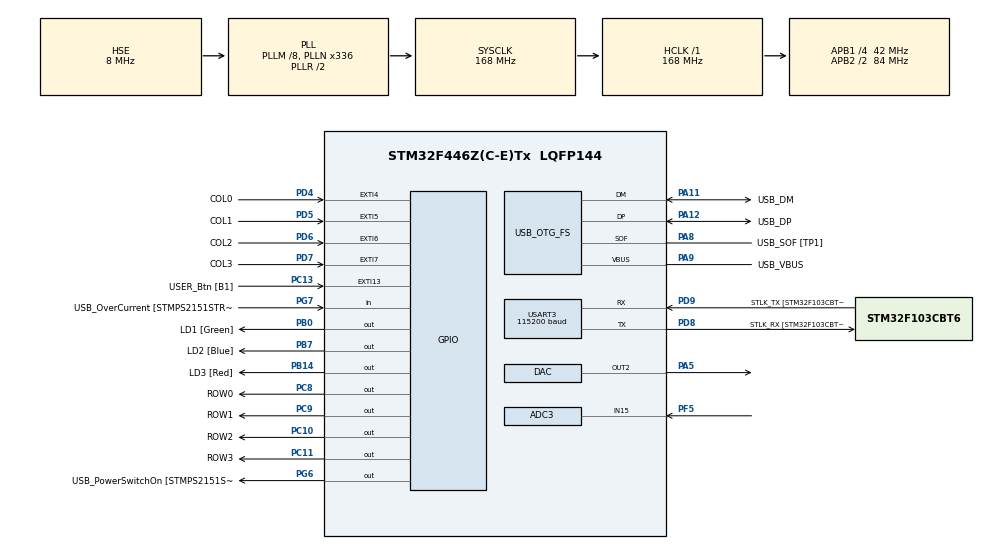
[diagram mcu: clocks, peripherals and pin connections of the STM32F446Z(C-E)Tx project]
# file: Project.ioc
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ADC3.Channel-0\#ChannelRegularConversion=ADC_CHANNEL_15
ADC3.NbrOfConversionFlag=1
ADC3.Rank-0\#ChannelRegularConversion=1
ADC3.SamplingTime-0\#ChannelRegularConversion=ADC_SAMPLETIME_3CYCLES
DAC.DAC_Trigger2=DAC_TRIGGER_T5_TRGO
Dma.ADC3.0.Direction=DMA_PERIPH_TO_MEMORY
Dma.ADC3.0.FIFOMode=DMA_FIFOMODE_DISABLE
Dma.ADC3.0.Instance=DMA2_Stream0
Dma.ADC3.0.MemDataAlignment=DMA_MDATAALIGN_HALFWORD
Dma.ADC3.0.MemInc=DMA_MINC_ENABLE
Dma.ADC3.0.Mode=DMA_NORMAL
Dma.ADC3.0.PeriphDataAlignment=DMA_PDATAALIGN_HALFWORD
Dma.ADC3.0.PeriphInc=DMA_PINC_DISABLE
Dma.ADC3.0.Priority=DMA_PRIORITY_LOW
Dma.Request0=ADC3
Mcu.Family=STM32F4
Mcu.Name=STM32F446Z(C-E)Tx
Mcu.Package=LQFP144
NVIC.DMA2_Stream0_IRQn=true\:0\:0\:false\:false\:true\:false\:true\:true
NVIC.EXTI15_10_IRQn=true\:0\:0\:false\:false\:true\:true\:true\:true
NVIC.EXTI4_IRQn=true\:0\:0\:false\:false\:true\:true\:true\:true
NVIC.EXTI9_5_IRQn=true\:0\:0\:false\:false\:true\:true\:true\:true
NVIC.PriorityGroup=NVIC_PRIORITYGROUP_4
NVIC.TIM6_DAC_IRQn=true\:0\:0\:false\:false\:true\:true\:true\:true
NVIC.TIM7_IRQn=true\:0\:0\:false\:false\:true\:true\:true\:true
PA10.GPIO_Label=USB_ID
PA10.Signal=USB_OTG_FS_ID
PA11.GPIO_Label=USB_DM
PA11.Mode=Device_Only
PA11.Signal=USB_OTG_FS_DM
PA12.GPIO_Label=USB_DP
PA12.Mode=Device_Only
PA12.Signal=USB_OTG_FS_DP
PA13.GPIO_Label=TMS
PA13.Mode=Serial_Wire
PA13.Signal=SYS_JTMS-SWDIO
PA14.GPIO_Label=TCK
PA14.Mode=Serial_Wire
PA14.Signal=SYS_JTCK-SWCLK
PA5.Signal=COMP_DAC2_group
PA8.GPIO_Label=USB_SOF [TP1]
PA8.Mode=Activate_SOF_FS
PA8.Signal=USB_OTG_FS_SOF
PA9.GPIO_Label=USB_VBUS
PA9.Mode=Activate_VBUS
PA9.Signal=USB_OTG_FS_VBUS
PB0.GPIO_Label=LD1 [Green]
PB0.Signal=GPIO_Output
PB14.GPIO_Label=LD3 [Red]
PB14.Signal=GPIO_Output
PB7.GPIO_Label=LD2 [Blue]
PB7.Signal=GPIO_Output
PC10.GPIO_Label=ROW2
PC10.Signal=GPIO_Output
PC11.GPIO_Label=ROW3
PC11.Signal=GPIO_Output
PC13.GPIO_Label=USER_Btn [B1]
PC13.GPIO_ModeDefaultEXTI=GPIO_MODE_IT_RISING
PC13.Signal=GPXTI13
PC14-OSC32_IN.Mode=LSE-External-Oscillator
PC14-OSC32_IN.Signal=RCC_OSC32_IN
PC15-OSC32_OUT.Mode=LSE-External-Oscillator
PC15-OSC32_OUT.Signal=RCC_OSC32_OUT
PC8.GPIO_Label=ROW0
PC8.Signal=GPIO_Output
PC9.GPIO_Label=ROW1
PC9.Signal=GPIO_Output
PD4.GPIO_Label=COL0
PD4.GPIO_PuPd=GPIO_PULLDOWN
PD4.Signal=GPXTI4
PD5.GPIO_Label=COL1
PD5.GPIO_PuPd=GPIO_PULLDOWN
PD5.Signal=GPXTI5
PD6.GPIO_Label=COL2
PD6.GPIO_PuPd=GPIO_PULLDOWN
PD6.Signal=GPXTI6
PD7.GPIO_Label=COL3
PD7.GPIO_PuPd=GPIO_PULLDOWN
PD7.Signal=GPXTI7
PD8.GPIO_Label=STLK_RX [STM32F103CBT6_PA3]
PD8.Mode=Asynchronous
PD8.Signal=USART3_TX
PD9.GPIO_Label=STLK_TX [STM32F103CBT6_PA2]
PD9.Mode=Asynchronous
PD9.Signal=USART3_RX
PF5.Mode=IN15
PF5.Signal=ADC3_IN15
PG6.GPIO_Label=USB_PowerSwitchOn [STMPS2151STR_EN]
PG6.Signal=GPIO_Output
PG7.GPIO_Label=USB_OverCurrent [STMPS2151STR_FAULT]
PG7.Signal=GPIO_Input
PH0-OSC_IN.GPIO_Label=MCO [STM32F103CBT6_PA8]
PH0-OSC_IN.Mode=HSE-External-Clock-Source
PH0-OSC_IN.Signal=RCC_OSC_IN
PH1-OSC_OUT.Mode=HSE-External-Clock-Source
PH1-OSC_OUT.Signal=RCC_OSC_OUT
ProjectManager.HeapSize=0x200
ProjectManager.StackSize=0x400
ProjectManager.TargetToolchain=STM32CubeIDE
RCC.48MHZClocksFreq_Value=24000000
RCC.AHBFreq_Value=168000000
RCC.APB1CLKDivider=RCC_HCLK_DIV4
RCC.APB1Freq_Value=42000000
RCC.APB1TimFreq_Value=84000000
RCC.APB2CLKDivider=RCC_HCLK_DIV2
RCC.APB2Freq_Value=84000000
RCC.APB2TimFreq_Value=168000000
RCC.CortexFreq_Value=168000000
RCC.HCLKFreq_Value=168000000
RCC.HSE_VALUE=8000000
RCC.HSI_VALUE=16000000
RCC.PLLM=8
RCC.PLLMUL=RCC_PLL_MUL9
RCC.PLLN=336
RCC.PLLQ=7
RCC.PRESCALERUSB=RCC_USBCLKSOURCE_PLL_DIV1_5
RCC.SYSCLKFreq_VALUE=168000000
RCC.SYSCLKSource=RCC_SYSCLKSOURCE_PLLRCLK
RCC.SYSCLKSourceVirtual=RCC_SYSCLKSOURCE_PLLCLK
RCC.USBFreq_Value=48000000
RCC.VCOOutputFreq_Value=336000000
SH.COMP_DAC2_group.0=DAC_OUT2,DAC_OUT2
STMicroelectronics.X-CUBE-ALGOBUILD.1.3.0.LibraryCcDSPOoLibraryJjDSPOoLibrary=true
TIM5.AutoReloadPreload=TIM_AUTORELOAD_PRELOAD_ENABLE
TIM5.Period=7000-1
TIM5.TIM_MasterOutputTrigger=TIM_TRGO_UPDATE
TIM6.AutoReloadPreload=TIM_AUTORELOAD_PRELOAD_ENABLE
TIM6.Period=1000 - 1
TIM6.Prescaler=8400 - 1
TIM6.TIM_MasterOutputTrigger=TIM_TRGO_RESET
TIM7.AutoReloadPreload=TIM_AUTORELOAD_PRELOAD_ENABLE
TIM7.Period=1750-1
TIM7.TIM_MasterOutputTrigger=TIM_TRGO_RESET
USART3.BaudRate=115200
USART3.VirtualMode=VM_ASYNC
USB_OTG_FS.VirtualMode=Device_Only
VP_STMicroelectronics.X-CUBE-ALGOBUILD_VS_DSPOoLibraryJjLibrary_1.3.0_1.3.0.Mode=DSPOoLibraryJjLibrary
VP_TIM5_VS_ClockSourceINT.Mode=Internal
VP_TIM6_VS_ClockSourceINT.Mode=Enable_Timer
VP_TIM7_VS_ClockSourceINT.Mode=Enable_Timer
board=NUCLEO-F446ZE

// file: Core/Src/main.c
/* USER CODE BEGIN Header */
/**
  ******************************************************************************
  * @file           : main.c
  * @brief          : Main program body
  ******************************************************************************
  * @attention
  *
  * Copyright (c) 2024 STMicroelectronics.
  * All rights reserved.
  *
  * This software is licensed under terms that can be found in the LICENSE file
  * in the root directory of this software component.
  * If no LICENSE file comes with this software, it is provided AS-IS.
  *
  ******************************************************************************
  */
/* USER CODE END Header */
#include "main.h"

/* USER CODE BEGIN Includes */
#include "arm_math.h"
//#include "math_helper.h"
#include <stdio.h>
#include <math.h>
/* USER CODE END Includes */

ADC_HandleTypeDef hadc3;
DMA_HandleTypeDef hdma_adc3;

DAC_HandleTypeDef hdac;

TIM_HandleTypeDef htim5;
TIM_HandleTypeDef htim6;
TIM_HandleTypeDef htim7;

UART_HandleTypeDef huart3;

PCD_HandleTypeDef hpcd_USB_OTG_FS;

void SystemClock_Config(void);
static void MX_GPIO_Init(void);
static void MX_DMA_Init(void);
static void MX_USART3_UART_Init(void);
static void MX_USB_OTG_FS_PCD_Init(void);
static void MX_DAC_Init(void);
static void MX_TIM7_Init(void);
static void MX_TIM6_Init(void);
static void MX_TIM5_Init(void);
static void MX_ADC3_Init(void);
/* USER CODE BEGIN PFP */
uint8_t volume_level = 5; // Default volume level
uint8_t trig_vol = 5; // Default volume level

uint16_t trig_freq = 100;

int8_t current_row = -1, current_col = -1;
uint8_t key_pressed = 0;
uint8_t key_detected = 0;
char key;
uint8_t push_button_en = 0;
uint8_t new_sample = 0;

uint8_t echo_en = 0;

char keys[4][4] = {{'3', '2', '1', '0'},
                    {'7', '6', '5', '4'},
                    {'B', 'A', '9', '8'},
                    {'F', 'E', 'D', 'C'}};

const float32_t sine[SAMPLES] = {
		0,	0.130526192220052,	0.258819045102521,	0.382683432365090,	0.500000000000000,	0.608761429008721,	0.707106781186548,
		0.793353340291235,	0.866025403784439,	0.923879532511287,	0.965925826289068,	0.991444861373810,	1,	0.991444861373811,
		0.965925826289068,	0.923879532511287,	0.866025403784439,	0.793353340291235,	0.707106781186548,	0.608761429008721,
		0.500000000000000,	0.382683432365090,	0.258819045102521,	0.130526192220052,	0,	-0.130526192220051,	-0.258819045102520,
		-0.382683432365089,	-0.499999999999999,	-0.608761429008721,	-0.707106781186548,	-0.793353340291235,	-0.866025403784439,
		-0.923879532511287,	-0.965925826289068,	-0.991444861373810,	-1,	-0.991444861373811,	-0.965925826289068,	-0.923879532511287,
		-0.866025403784439,	-0.793353340291236,	-0.707106781186548,	-0.608761429008721,	-0.500000000000000,	-0.382683432365090,
		-0.258819045102522,	-0.130526192220053
};

float32_t square[SAMPLES];

const float32_t logarithmic_chirp[320] = {
		0.000000000000000061,	0.002622410992047861,	0.005253663973466970,	0.007893770384930297,	0.010542741395035495,	0.013200587895525877,	0.015867320496454066,	0.018542949521290073,
		0.021227485001971542,	0.023920936673895138,	0.026623313970853074,	0.029334626019908643,	0.032054881636210709,	0.034784089317753723,	0.037522257240071598,	0.040269393250875855,
		0.043025504864628375,	0.045790599257054837,	0.048564683259595690,	0.051347763353792118,	0.054139845665610427,	0.056940935959702531,	0.059751039633601337,	0.062570161711849828,
		0.065398306840066575,	0.068235479278943648,	0.071081682898178900,	0.073936921170339814,	0.076801197164660218,	0.079674513540768196,	0.082556872542344922,	0.085448275990715375,
		0.088348725278367082,	0.091258221362398390,	0.094176764757897533,	0.097104355531246703,	0.100040993293358240,	0.102986677192832010,	0.105941405909045980,	0.108905177645166230,
		0.111877990121087980,	0.114859840566297130,	0.117850725712659680,	0.120850641787131110,	0.123859584504392860,	0.126877549059407400,	0.129904530119898690,	0.132940521818751430,
		0.135985517746334080,	0.139039510942737950,	0.142102493889940090,	0.145174458503884160,	0.148255396126476810,	0.151345297517508140,	0.154444152846483080,	0.157551951684374300,
		0.160668682995289720,	0.163794335128054890,	0.166928895807713030,	0.170072352126936720,	0.173224690537355760,	0.176385896840798810,	0.179555956180445340,	0.182734853031894270,
		0.185922571194139130,	0.189119093780459800,	0.192324403209221870,	0.195538481194587030,	0.198761308737133020,	0.201992866114384050,	0.205233132871247170,	0.208482087810360570,
		0.211739708982344370,	0.215005973675965020,	0.218280858408200220,	0.221564338914212730,	0.224856390137231970,	0.228156986218334190,	0.231466100486134670,	0.234783705446379690,
		0.238109772771442410,	0.241444273289723230,	0.244787176974952890,	0.248138452935395580,	0.251498069402956710,	0.254865993722190930,	0.258242192339209860,	0.261626630790492030,
		0.265019273691591620,	0.268420084725748410,	0.271829026632395280,	0.275246061195565440,	0.278671149232197430,	0.282104250580339830,	0.285545324087251580,	0.288994327597401960,
		0.292451217940364990,	0.295915950918612280,	0.299388481295203350,	0.302868762781368150,	0.306356748023990040,	0.309852388592980640,	0.313355634968552230,	0.316866436528383590,
		0.320384741534681720,	0.323910497121136620,	0.327443649279772870,	0.330984142847692230,	0.334531921493712690,	0.338086927704900790,	0.341649102772995210,	0.345218386780727190,
		0.348794718588032520,	0.352378035818156910,	0.355968274843654950,	0.359565370772282730,	0.363169257432780890,	0.366779867360555120,	0.370397131783246010,	0.374020980606193880,
		0.377651342397795690,	0.381288144374756830,	0.384931312387234990,	0.388580770903877330,	0.392236442996751310,	0.395898250326170650,	0.399566113125414350,	0.403239950185338420,
		0.406919678838884410,	0.410605214945482130,	0.414296472875345100,	0.417993365493664670,	0.421695804144698540,	0.425403698635752780,	0.429116957221065130,	0.432835486585582130,
		0.436559191828633180,	0.440287976447505720,	0.444021742320914510,	0.447760389692375140,	0.451503817153472210,	0.455251921627031540,	0.459004598350192470,	0.462761740857380200,
		0.466523240963184150,	0.470288988745136360,	0.474058872526396560,	0.477832778858340690,	0.481610592503056990,	0.485392196415748600,	0.489177471727042850,	0.492966297725213780,
		0.496758551838309250,	0.500554109616195060,	0.504352844712508190,	0.508154628866524960,	0.511959331884944910,	0.515766821623591440,	0.519576963969030530,	0.523389622820107150,
		0.527204660069405030,	0.531021935584629400,	0.534841307189911630,	0.538662630647041900,	0.542485759636628150,	0.546310545739186690,	0.550136838416161340,	0.553964484990880020,
		0.557793330629441700,	0.561623218321546380,	0.565453988861259300,	0.569285480827721570,	0.573117530565801950,	0.576949972166696630,	0.580782637448476910,	0.584615355936589420,
		0.588447954844309340,	0.592280259053150400,	0.596112091093235260,	0.599943271123626440,	0.603773616912622660,	0.607602943818024150,	0.611431064767369080,	0.615257790238142090,
		0.619082928237961740,	0.622906284284749700,	0.626727661386881850,	0.630546860023327600,	0.634363678123782030,	0.638177911048790960,	0.641989351569874020,	0.645797789849653410,
		0.649603013421986450,	0.653404807172108140,	0.657202953316791350,	0.660997231384523490,	0.664787418195706640,	0.668573287842887610,	0.672354611671016960,	0.676131158257749170,
		0.679902693393781730,	0.683668980063242500,	0.687429778424128110,	0.691184845788802130,	0.694933936604551380,	0.698676802434213370,	0.702413191936877570,	0.706142850848662460,
		0.709865521963579990,	0.713580945114492330,	0.717288857154159800,	0.720988991936399870,	0.724681080297347790,	0.728364850036839040,	0.732040025899910680,	0.735706329558433620,
		0.739363479592880620,	0.743011191474238440,	0.746649177546067850,	0.750277147006723990,	0.753894805891742180,	0.757501857056394940,	0.761098000158428880,	0.764682931640995540,
		0.768256344715771980,	0.771817929346292900,	0.775367372231492210,	0.778904356789468790,	0.782428563141483460,	0.785939668096195860,	0.789437345134148760,	0.792921264392515420,
		0.796391092650110770,	0.799846493312681210,	0.803287126398485760,	0.806712648524170680,	0.810122712890953390,	0.813516969271127150,	0.816895063994893090,	0.820256639937531280,
		0.823601336506926020,	0.826928789631450890,	0.830238631748229430,	0.833530491791779850,	0.836803995183058700,	0.840058763818912760,	0.843294416061954100,	0.846510566730867220,
		0.849706827091166740,	0.852882804846411770,	0.856038104129895340,	0.859172325496819990,	0.862285065916973510,	0.865375918767918860,	0.868444473828712590,	0.871490317274166260,
		0.874513031669661770,	0.877512195966544280,	0.880487385498096800,	0.883438171976119850,	0.886364123488128100,	0.889264804495180530,	0.892139775830360640,	0.894988594697921020,
		0.897810814673113080,	0.900605985702712770,	0.903373654106265470,	0.906113362578062300,	0.908824650189867690,	0.911507052394417540,	0.914160101029702910,	0.916783324324059180,
		0.919376246902079860,	0.921938389791372770,	0.924469270430179120,	0.926968402675872660,	0.929435296814361430,	0.931869459570409790,	0.934270394118903560,	0.936637600097074200,
		0.938970573617708970,	0.941268807283364040,	0.943531790201601380,	0.945759008001275100,	0.947949942849885320,	0.950104073472023970,	0.952220875168933280,	0.954299819839202090,
		0.956340376000621160,	0.958342008813221960,	0.960304180103520260,	0.962226348389994210,	0.964107968909812760,	0.965948493646846980,	0.967747371360983650,	0.969504047618768740,
		0.971217964825405680,	0.972888562258134030,	0.974515276101013520,	0.976097539481141750,	0.977634782506330400,	0.979126432304266880,	0.980571913063189360,	0.981970646074102120,
		0.983322049774557390,	0.984625539794035220,	0.985880529000944810,	0.987086427551279730,	0.988242642938953360,	0.989348580047844540,	0.990403641205582440,	0.991407226239099710,
		0.992358732531984260,	0.993257555083659870,	0.994103086570423680,	0.994894717408374870,	0.995631835818261310,	0.996313827892278070,	0.996940077662846650,	0.997509967173408010,
};

const float32_t firCoeffs32[NUM_TAPS] = {
	  -0.0018225230f, -0.0015879294f, +0.0000000000f, +0.0036977508f, +0.0080754303f, +0.0085302217f, -0.0000000000f, -0.0173976984f,
	  -0.0341458607f, -0.0333591565f, +0.0000000000f, +0.0676308395f, +0.1522061835f, +0.2229246956f, +0.2504960933f, +0.2229246956f,
	  +0.1522061835f, +0.0676308395f, +0.0000000000f, -0.0333591565f, -0.0341458607f, -0.0173976984f, -0.0000000000f, +0.0085302217f,
};

const float32_t coeffTable[950] = {
		/* Band 1, -9 dB gain */
		0.997590, -1.995180, 0.997590, 2.000000, -1.000000, 0.997590, -1.980927, 0.983438, 1.976016, -0.976300,
		/* Band 1, -8 dB gain */
		0.997862, -1.995725, 0.997862, 2.000000, -1.000000, 0.997862, -1.981052, 0.983296, 1.976696, -0.976964,
		0.998133, -1.996266, 0.998133, 2.000000, -1.000000, 0.998133, -1.981161, 0.983141, 1.977357, -0.977611,
		0.998402, -1.996805, 0.998402, 2.000000, -1.000000, 0.998402, -1.981254, 0.982972, 1.977999, -0.978239,
		0.998670, -1.997341, 0.998670, 2.000000, -1.000000, 0.998670, -1.981332, 0.982789, 1.978624, -0.978850,
		0.998937, -1.997875, 0.998937, 2.000000, -1.000000, 0.998937, -1.981394, 0.982591, 1.979230, -0.979443,
		0.999204, -1.998408, 0.999204, 2.000000, -1.000000, 0.999204, -1.981441, 0.982380, 1.979819, -0.980021,
		0.999469, -1.998939, 0.999469, 2.000000, -1.000000, 0.999469, -1.981472, 0.982154, 1.980392, -0.980582,
		0.999735, -1.999470, 0.999735, 2.000000, -1.000000, 0.999735, -1.981488, 0.981914, 1.980948, -0.981128,
		1.000000, -2.000000, 1.000000, 2.000000, -1.000000, 1.000000, -1.981488, 0.981658, 1.981488, -0.981658,
		1.000265, -2.000530, 1.000265, 2.000000, -1.000000, 1.000265, -1.981473, 0.981388, 1.982014, -0.982174,
		1.000531, -2.001062, 1.000531, 2.000000, -1.000000, 1.000531, -1.981443, 0.981103, 1.982524, -0.982675,
		1.000797, -2.001594, 1.000797, 2.000000, -1.000000, 1.000797, -1.981397, 0.980802, 1.983020, -0.983163,
		1.001064, -2.002127, 1.001064, 2.000000, -1.000000, 1.001064, -1.981335, 0.980485, 1.983501, -0.983636,
		1.001331, -2.002663, 1.001331, 2.000000, -1.000000, 1.001331, -1.981258, 0.980153, 1.983970, -0.984097,
		1.001600, -2.003200, 1.001600, 2.000000, -1.000000, 1.001600, -1.981165, 0.979804, 1.984424, -0.984545,
		1.001871, -2.003741, 1.001871, 2.000000, -1.000000, 1.001871, -1.981056, 0.979439, 1.984866, -0.984980,
		1.002142, -2.004285, 1.002142, 2.000000, -1.000000, 1.002142, -1.980931, 0.979057, 1.985296, -0.985403,
		1.002416, -2.004832, 1.002416, 2.000000, -1.000000, 1.002416, -1.980790, 0.978659, 1.985713, -0.985814,
		0.990527, -1.966018, 0.975790, 1.985977, -0.986122, 0.990527, -1.937818, 0.949629, 1.916491, -0.921315,
		0.991593, -1.968075, 0.976771, 1.985795, -0.985948, 0.991593, -1.938312, 0.949134, 1.919385, -0.923988,
		0.992655, -1.970134, 0.977760, 1.985625, -0.985785, 0.992655, -1.938731, 0.948575, 1.922192, -0.926586,
		0.993711, -1.972199, 0.978759, 1.985466, -0.985633, 0.993711, -1.939074, 0.947948, 1.924913, -0.929111,
		0.994764, -1.974270, 0.979768, 1.985320, -0.985495, 0.994764, -1.939339, 0.947255, 1.927549, -0.931563,
		0.995814, -1.976351, 0.980790, 1.985187, -0.985371, 0.995814, -1.939528, 0.946494, 1.930102, -0.933942,
		0.996862, -1.978442, 0.981825, 1.985068, -0.985260, 0.996862, -1.939639, 0.945663, 1.932572, -0.936250,
		0.997908, -1.980546, 0.982873, 1.984964, -0.985164, 0.997908, -1.939672, 0.944763, 1.934961, -0.938487,
		0.998954, -1.982665, 0.983938, 1.984874, -0.985083, 0.998954, -1.939626, 0.943793, 1.937271, -0.940654,
		1.000000, -1.984800, 0.985018, 1.984800, -0.985018, 1.000000, -1.939502, 0.942752, 1.939502, -0.942752,
		1.001047, -1.986953, 0.986115, 1.984741, -0.984968, 1.001047, -1.939299, 0.941639, 1.941658, -0.944781,
		1.002096, -1.989125, 0.987229, 1.984698, -0.984934, 1.002096, -1.939017, 0.940454, 1.943738, -0.946744,
		1.003148, -1.991318, 0.988362, 1.984670, -0.984915, 1.003148, -1.938656, 0.939197, 1.945745, -0.948640,
		1.004204, -1.993532, 0.989513, 1.984658, -0.984913, 1.004204, -1.938215, 0.937868, 1.947681, -0.950472,
		1.005263, -1.995770, 0.990682, 1.984662, -0.984925, 1.005263, -1.937695, 0.936466, 1.949547, -0.952241,
		1.006329, -1.998031, 0.991871, 1.984680, -0.984953, 1.006329, -1.937095, 0.934991, 1.951345, -0.953948,
		1.007400, -2.000318, 0.993079, 1.984713, -0.984996, 1.007400, -1.936416, 0.933443, 1.953077, -0.955594,
		1.008478, -2.002631, 0.994306, 1.984760, -0.985052, 1.008478, -1.935658, 0.931821, 1.954745, -0.957181,
		1.009564, -2.004971, 0.995553, 1.984820, -0.985123, 1.009564, -1.934820, 0.930127, 1.956351, -0.958711,
		0.966534, -1.866346, 0.906596, 1.932002, -0.935733, 0.966534, -1.761754, 0.831431, 1.680788, -0.746363,
		0.970252, -1.873134, 0.909509, 1.931427, -0.935322, 0.970252, -1.762977, 0.829961, 1.691136, -0.754252,
		0.973965, -1.879949, 0.912454, 1.930912, -0.934976, 0.973965, -1.763937, 0.828291, 1.701165, -0.761962,
		0.977674, -1.886800, 0.915435, 1.930459, -0.934695, 0.977674, -1.764629, 0.826418, 1.710879, -0.769489,
		0.981383, -1.893695, 0.918458, 1.930071, -0.934481, 0.981383, -1.765047, 0.824337, 1.720282, -0.776831,
		0.985093, -1.900640, 0.921530, 1.929746, -0.934334, 0.985093, -1.765186, 0.822047, 1.729380, -0.783986,
		0.988808, -1.907645, 0.924655, 1.929485, -0.934253, 0.988808, -1.765040, 0.819543, 1.738177, -0.790953,
		0.992529, -1.914715, 0.927839, 1.929289, -0.934239, 0.992529, -1.764602, 0.816823, 1.746681, -0.797732,
		0.996259, -1.921860, 0.931088, 1.929156, -0.934291, 0.996259, -1.763869, 0.813885, 1.754898, -0.804323,
		1.000000, -1.929086, 0.934406, 1.929086, -0.934406, 1.000000, -1.762833, 0.810725, 1.762833, -0.810725,
		1.003755, -1.936401, 0.937799, 1.929078, -0.934585, 1.003755, -1.761488, 0.807343, 1.770493, -0.816941,
		1.007528, -1.943812, 0.941272, 1.929129, -0.934824, 1.007528, -1.759830, 0.803737, 1.777886, -0.822972,
		1.011319, -1.951325, 0.944828, 1.929237, -0.935121, 1.011319, -1.757852, 0.799906, 1.785018, -0.828819,
		1.015132, -1.958947, 0.948472, 1.929401, -0.935475, 1.015132, -1.755549, 0.795850, 1.791897, -0.834486,
		1.018970, -1.966685, 0.952209, 1.929619, -0.935882, 1.018970, -1.752916, 0.791568, 1.798530, -0.839975,
		1.022836, -1.974543, 0.956040, 1.929887, -0.936339, 1.022836, -1.749948, 0.787061, 1.804925, -0.845289,
		1.026731, -1.982528, 0.959969, 1.930203, -0.936845, 1.026731, -1.746640, 0.782330, 1.811089, -0.850432,
		1.030660, -1.990645, 0.963999, 1.930564, -0.937395, 1.030660, -1.742987, 0.777378, 1.817030, -0.855408,
		1.034625, -1.998898, 0.968132, 1.930968, -0.937987, 1.034625, -1.738985, 0.772206, 1.822755, -0.860219,
		0.920303, -1.585898, 0.752613, 1.732542, -0.789053, 0.920303, -1.254890, 0.632373, 1.046514, -0.495094,
		0.928926, -1.600342, 0.757327, 1.730792, -0.789364, 0.928926, -1.254072, 0.629919, 1.068635, -0.507055,
		0.937598, -1.614936, 0.762098, 1.729211, -0.789864, 0.937598, -1.252690, 0.627141, 1.090188, -0.518931,
		0.946322, -1.629695, 0.766937, 1.727798, -0.790548, 0.946322, -1.250726, 0.624036, 1.111176, -0.530705,
		0.955102, -1.644633, 0.771858, 1.726549, -0.791410, 0.955102, -1.248160, 0.620600, 1.131605, -0.542361,
		0.963942, -1.659767, 0.776871, 1.725460, -0.792444, 0.963942, -1.244973, 0.616830, 1.151480, -0.553883,
		0.972848, -1.675114, 0.781992, 1.724527, -0.793642, 0.972848, -1.241144, 0.612723, 1.170807, -0.565257,
		0.981823, -1.690690, 0.787234, 1.723743, -0.794997, 0.981823, -1.236652, 0.608280, 1.189596, -0.576472,
		0.990872, -1.706514, 0.792612, 1.723104, -0.796499, 0.990872, -1.231475, 0.603499, 1.207855, -0.587516,
		1.000000, -1.722604, 0.798141, 1.722604, -0.798141, 1.000000, -1.225593, 0.598381, 1.225593, -0.598381,
		1.009212, -1.738978, 0.803836, 1.722235, -0.799913, 1.009212, -1.218982, 0.592929, 1.242820, -0.609058,
		1.018514, -1.755656, 0.809715, 1.721991, -0.801808, 1.018514, -1.211620, 0.587144, 1.259547, -0.619542,
		1.027910, -1.772658, 0.815793, 1.721866, -0.803817, 1.027910, -1.203485, 0.581033, 1.275784, -0.629825,
		1.037407, -1.790004, 0.822087, 1.721853, -0.805931, 1.037407, -1.194553, 0.574602, 1.291543, -0.639903,
		1.047009, -1.807712, 0.828614, 1.721946, -0.808142, 1.047009, -1.184801, 0.567857, 1.306835, -0.649774,
		1.056723, -1.825804, 0.835390, 1.722136, -0.810441, 1.056723, -1.174206, 0.560809, 1.321671, -0.659434,
		1.066555, -1.844299, 0.842433, 1.722419, -0.812820, 1.066555, -1.162746, 0.553469, 1.336064, -0.668881,
		1.076512, -1.863217, 0.849759, 1.722787, -0.815272, 1.076512, -1.150398, 0.545850, 1.350023, -0.678115,
		1.086598, -1.882578, 0.857384, 1.723234, -0.817789, 1.086598, -1.137141, 0.537969, 1.363562, -0.687135,
		0.721551, -0.944198, 0.366817, 1.564831, -0.646726, 0.721551, 0.944198, 0.366817, -1.564831, -0.646726,
		0.748146, -0.991441, 0.385846, 1.553009, -0.639214, 0.748146, 0.991441, 0.385846, -1.553009, -0.639214,
		0.775740, -1.040702, 0.405875, 1.540911, -0.631637, 0.775740, 1.040702, 0.405875, -1.540911, -0.631637,
		0.804368, -1.092052, 0.426942, 1.528533, -0.624000, 0.804368, 1.092052, 0.426942, -1.528533, -0.624000,
		0.834067, -1.145563, 0.449085, 1.515874, -0.616311, 0.834067, 1.145563, 0.449085, -1.515874, -0.616311,
		0.864875, -1.201312, 0.472342, 1.502930, -0.608577, 0.864875, 1.201312, 0.472342, -1.502930, -0.608577,
		0.896831, -1.259376, 0.496755, 1.489700, -0.600805, 0.896831, 1.259376, 0.496755, -1.489700, -0.600805,
		0.929976, -1.319836, 0.522366, 1.476182, -0.593003, 0.929976, 1.319836, 0.522366, -1.476182, -0.593003,
		0.964351, -1.382775, 0.549216, 1.462375, -0.585182, 0.964351, 1.382775, 0.549216, -1.462375, -0.585182,
		1.000000, -1.448278, 0.577350, 1.448278, -0.577350, 1.000000, 1.448278, 0.577350, -1.448278, -0.577350,
		1.036967, -1.516434, 0.606814, 1.433892, -0.569519, 1.036967, 1.516434, 0.606814, -1.433892, -0.569519,
		1.075297, -1.587334, 0.637655, 1.419216, -0.561698, 1.075297, 1.587334, 0.637655, -1.419216, -0.561698,
		1.115038, -1.661071, 0.669920, 1.404252, -0.553901, 1.115038, 1.661071, 0.669920, -1.404252, -0.553901,
		1.156237, -1.737743, 0.703659, 1.389001, -0.546139, 1.156237, 1.737743, 0.703659, -1.389001, -0.546139,
		1.198944, -1.817448, 0.738923, 1.373467, -0.538428, 1.198944, 1.817448, 0.738923, -1.373467, -0.538428,
		1.243212, -1.900290, 0.775764, 1.357651, -0.530779, 1.243212, 1.900290, 0.775764, -1.357651, -0.530779,
		1.289091, -1.986374, 0.814237, 1.341560, -0.523210, 1.289091, 1.986374, 0.814237, -1.341560, -0.523210,
		1.336637, -2.075809, 0.854397, 1.325197, -0.515736, 1.336637, 2.075809, 0.854397, -1.325197, -0.515736,
		1.385904, -2.168706, 0.896300, 1.308568, -0.508373, 1.385904, 2.168706, 0.896300, -1.308568, -0.508373
};

static float32_t firStateF32[BLOCK_SIZE + NUM_TAPS - 1];

static float32_t biquadStateBand1[8];
static float32_t biquadStateBand2[8];
static float32_t biquadStateBand3[8];
static float32_t biquadStateBand4[8];
static float32_t biquadStateBand5[8];

int band_gainDB[5] = {0, 0, 0, 0, 0};

float32_t input;
float32_t prevSample;

#define REVERB_BUFFER_LEN 2048
#define REVERB_DECAY_RATE 0.01
#define REVERB_DELAY_LINE_1 185
#define REVERB_DELAY_LINE_2 1261
#define REVERB_DELAY_LINE_3 1730
#define REVERB_DELAY_LINE_4 2031

// Ensure ring buffer is zeroed out
float32_t reverbRingBuffer[REVERB_BUFFER_LEN] = { 0.0 };
float32_t reverbDelayLine1 = 0.0;
float32_t reverbDelayLine2 = 0.0;
float32_t reverbDelayLine3 = 0.0;
float32_t reverbDelayLine4 = 0.0;
uint32_t reverbIndex = 0;

//uint32_t blockSize = BLOCK_SIZE;
//uint32_t numBlocks = SAMPLES/BLOCK_SIZE;
/* USER CODE END PFP */

/* USER CODE BEGIN 0 */
// Per the adafruit keypad library, it seems like they allow polling the keypad
// at 20 us!! i.e. _KEYPAD_SETTLING_DELAY=20us
// We should be able to do close to that too
void check_keys(){
  uint16_t row_pins[] = { ROW0_Pin, ROW1_Pin, ROW2_Pin, ROW3_Pin };

  HAL_NVIC_DisableIRQ(EXTI4_IRQn);
  HAL_NVIC_DisableIRQ(EXTI9_5_IRQn);

  key_detected = 0;
  for (int i = 0; i < 4; i++) {

    // Clear Row0 to Row3; Only valid b/c they are all on GPIOC
    HAL_GPIO_WritePin(ROW0_GPIO_Port, ROW0_Pin|ROW1_Pin|ROW2_Pin|ROW3_Pin, GPIO_PIN_RESET);

    // Set desired Row
    HAL_GPIO_WritePin(ROW0_GPIO_Port, row_pins[i], GPIO_PIN_SET);
    HAL_Delay(0);

    if (HAL_GPIO_ReadPin(COL0_GPIO_Port, COL0_Pin)) {
      current_row = i;
      current_col = 0;
      key_detected = 1;
    }
    if (HAL_GPIO_ReadPin(COL1_GPIO_Port, COL1_Pin)) {
      current_row = i;
      current_col = 1;
      key_detected = 1;
    }
    if (HAL_GPIO_ReadPin(COL2_GPIO_Port, COL2_Pin)) {
      current_row = i;
      current_col = 2;
      key_detected = 1;
    }
    if (HAL_GPIO_ReadPin(COL3_GPIO_Port, COL3_Pin)) {
      current_row = i;
      current_col = 3;
      key_detected = 1;
    }
  }
  key = keys[current_row][current_col];
  // This ensures that after scanning the rows, they are all set
  // to high, so the interrupt detects if ANY key is pressed
  HAL_GPIO_WritePin(ROW0_GPIO_Port, ROW0_Pin|ROW1_Pin|ROW2_Pin|ROW3_Pin, GPIO_PIN_SET);

  HAL_Delay(1);

  HAL_NVIC_EnableIRQ(EXTI4_IRQn);
  HAL_NVIC_EnableIRQ(EXTI9_5_IRQn);
}
/* USER CODE END 0 */

int main(void)
{

  /* USER CODE BEGIN 1 */
	arm_fir_instance_f32 lp;

	arm_biquad_casd_df1_inst_f32 S1;
	arm_biquad_casd_df1_inst_f32 S2;
	arm_biquad_casd_df1_inst_f32 S3;
	arm_biquad_casd_df1_inst_f32 S4;
	arm_biquad_casd_df1_inst_f32 S5;
  /* USER CODE END 1 */

  /* MCU Configuration--------------------------------------------------------*/

  /* Reset of all peripherals, Initializes the Flash interface and the Systick. */
  HAL_Init();

  /* USER CODE BEGIN Init */
  /* Call FIR init function to initialize the instance structure. */
  arm_fir_init_f32(&lp, NUM_TAPS, (float32_t *)&firCoeffs32[0], &firStateF32[0], BLOCK_SIZE);

  arm_biquad_cascade_df1_init_f32(&S1, NUMSTAGES, &coeffTable[190*0 + 10*(band_gainDB[0] + 9)], biquadStateBand1);
  arm_biquad_cascade_df1_init_f32(&S2, NUMSTAGES, &coeffTable[190*1 + 10*(band_gainDB[1] + 9)], biquadStateBand2);
  arm_biquad_cascade_df1_init_f32(&S3, NUMSTAGES, &coeffTable[190*2 + 10*(band_gainDB[2] + 9)], biquadStateBand3);
  arm_biquad_cascade_df1_init_f32(&S4, NUMSTAGES, &coeffTable[190*3 + 10*(band_gainDB[3] + 9)], biquadStateBand4);
  arm_biquad_cascade_df1_init_f32(&S5, NUMSTAGES, &coeffTable[190*4 + 10*(band_gainDB[4] + 9)], biquadStateBand5);
  /* USER CODE END Init */

  /* Configure the system clock */
  SystemClock_Config();

  /* USER CODE BEGIN SysInit */
  float32_t output = 0;
  float index = 0;
  float incr = 1;
  /* USER CODE END SysInit */

  /* Initialize all configured peripherals */
  MX_GPIO_Init();
  MX_DMA_Init();
  MX_USART3_UART_Init();
  MX_USB_OTG_FS_PCD_Init();
  MX_DAC_Init();
  MX_TIM7_Init();
  MX_TIM6_Init();
  MX_TIM5_Init();
  MX_ADC3_Init();
  /* USER CODE BEGIN 2 */
  // Set Row0 to Row3; Only valid b/c they are all on GPIOC

  HAL_NVIC_DisableIRQ(EXTI4_IRQn);
  HAL_NVIC_DisableIRQ(EXTI9_5_IRQn);

  HAL_GPIO_WritePin(ROW0_GPIO_Port, ROW0_Pin|ROW1_Pin|ROW2_Pin|ROW3_Pin, GPIO_PIN_SET);

  HAL_Delay(1);

  HAL_NVIC_EnableIRQ(EXTI4_IRQn);
  HAL_NVIC_EnableIRQ(EXTI9_5_IRQn);

  HAL_DAC_Start(&hdac, DAC_CHANNEL_2);
  HAL_TIM_Base_Start_IT(&htim7);
//  HAL_TIM_Base_Start_IT(&htim6);
  HAL_TIM_Base_Start(&htim5);

  HAL_DACEx_TriangleWaveGenerate(&hdac, DAC_CHANNEL_2, (0 << 8));

//	float32_t  *inputF32;
//	inputF32 = &sine[0];
  /* USER CODE END 2 */

  /* Infinite loop */
  while (1)
  {

    /* USER CODE BEGIN 3 */
	if (key_pressed){
		// We cannot clear key_pressed here since we haven't
		// figured out which key was actually pressed
		// This is because scanning through keys generates
		// interrupts which re-enables key_pressed, which
		// we won't be able to properly clear
		check_keys();
		key_pressed = 0;

		if (key_detected) {
			if (key == 'A'){
				// double the frequency
				incr = incr*2;
			}
			else if (key == 'B'){
				// half the frequency (haven't exactly figured out how to go below 1 kHz)
				incr = incr/2;
			}
//			else if (key == 'E'){
//				// Increase volume (if not maximum)
//				if (volume_level < 10){
//					volume_level++;
//				}
//			}
//			else if (key == 'F'){
//				// Decrease volume (if not minimum)
//				if (volume_level > 0){
//					volume_level--;
//				}
//
//			// Control volume of triangular wave
//			}
			else if (key == 'C'){
				if (trig_vol < 11){
					trig_vol++;
				}
				HAL_DACEx_TriangleWaveGenerate(&hdac, DAC_CHANNEL_2, (trig_vol << 8));
			}
			else if (key == 'D'){
				if (trig_vol > 0){
					trig_vol--;
				}
				HAL_DACEx_TriangleWaveGenerate(&hdac, DAC_CHANNEL_2, (trig_vol << 8));

			// Control frequency of triangular wave
			}
			//	          else if (key == '8'){
			//	            // increase freq
			//	            if (trig_freq > 1){
			//	              trig_freq = trig_freq >> 1;
			//	            }
			//	            htim5.Init.Period = trig_freq;
			//	            if (HAL_TIM_Base_Init(&htim5) != HAL_OK){
			//	              Error_Handler();
			//	            }
			//	          }
			//	          else if (key == '9'){
			//	            // increase freq
			//	            if (trig_freq < 1000){
			//	              trig_freq = trig_freq << 1;
			//	            }
			//	            htim5.Init.Period = trig_freq;
			//	            if (HAL_TIM_Base_Init(&htim5) != HAL_OK){
			//	              Error_Handler();
			//	            }
			//	          }

			// ******* Gains of Equalizers *******//

			// Band 1
			else if (key == '0'){
				if (band_gainDB[0] < MAX_GAIN){
					band_gainDB[0]++;
					arm_biquad_cascade_df1_init_f32(&S1, NUMSTAGES, &coeffTable[190*0 + 10*(band_gainDB[0] + 9)], biquadStateBand1);
				}
			}else if (key == '1'){
				if (band_gainDB[0] > -MAX_GAIN){
					band_gainDB[0]--;
					arm_biquad_cascade_df1_init_f32(&S1, NUMSTAGES, &coeffTable[190*0 + 10*(band_gainDB[0] + 9)], biquadStateBand1);
				}
			}

			// band 2
			else if (key == '2'){
				if (band_gainDB[1] < MAX_GAIN){
					band_gainDB[1]++;
					arm_biquad_cascade_df1_init_f32(&S2, NUMSTAGES, &coeffTable[190*1 + 10*(band_gainDB[1] + 9)], biquadStateBand2);
				}
			}else if (key == '3'){
				if (band_gainDB[1] > -MAX_GAIN){
					band_gainDB[1]--;
					arm_biquad_cascade_df1_init_f32(&S2, NUMSTAGES, &coeffTable[190*1 + 10*(band_gainDB[1] + 9)], biquadStateBand2);
				}
			}

			// band 3
			else if (key == '4'){
				if (band_gainDB[2] < MAX_GAIN){
					band_gainDB[2]++;
					arm_biquad_cascade_df1_init_f32(&S3, NUMSTAGES, &coeffTable[190*2 + 10*(band_gainDB[2] + 9)], biquadStateBand3);
				}
			}else if (key == '5'){
				if (band_gainDB[2] > -1){
					band_gainDB[2]--;
					arm_biquad_cascade_df1_init_f32(&S2, NUMSTAGES, &coeffTable[190*2 + 10*(band_gainDB[2] + 9)], biquadStateBand3);
				}
			}

			// band 4
			else if (key == '6'){
				if (band_gainDB[3] < MAX_GAIN){
					band_gainDB[3]++;
					arm_biquad_cascade_df1_init_f32(&S4, NUMSTAGES, &coeffTable[190*3 + 10*(band_gainDB[3] + 9)], biquadStateBand4);
				}
			}else if (key == '7'){
				if (band_gainDB[3] > -MAX_GAIN){
					band_gainDB[3]--;
					arm_biquad_cascade_df1_init_f32(&S4, NUMSTAGES, &coeffTable[190*3 + 10*(band_gainDB[3] + 9)], biquadStateBand4);
				}
			}

			// band 5
			else if (key == '8'){
				if (band_gainDB[4] < MAX_GAIN){
					band_gainDB[4]++;
					arm_biquad_cascade_df1_init_f32(&S5, NUMSTAGES, &coeffTable[190*4 + 10*(band_gainDB[4] + 9)], biquadStateBand5);
				}
			}else if (key == '9'){
				if (band_gainDB[4] > -MAX_GAIN){
					band_gainDB[4]--;
					arm_biquad_cascade_df1_init_f32(&S5, NUMSTAGES, &coeffTable[190*4 + 10*(band_gainDB[4] + 9)], biquadStateBand5);
				}
			}

			else if (key == 'E'){
			}
			else if (key == 'F'){
			}
			// Clear keypress and keydetect
			key_detected = 0;
			key_pressed = 0;
			current_row = -1;
			current_col = -1;
		}
	}

	if (new_sample){
	new_sample = 0;

	HAL_ADC_Start(&hadc3);
	HAL_ADC_PollForConversion(&hadc3, 100);

	input = (float32_t)HAL_ADC_GetValue(&hadc3);
	input = (input - 2048.0) / 4096.0;
//	input -= 2048.0;
	//input = (float32_t)HAL_ADC_GetValue(&hadc3) - 2048.0;
	//
	//	  	  	  if (filter_en){
	//	  	  		  arm_fir_f32(&lp, waveform + (uint32_t)(index)%SAMPLES, &output, BLOCK_SIZE);
	//	  	  	  }else{
	//	  	  		  output = waveform[(uint32_t)(index) % SAMPLES] * (volume_level / 10.0);
	//	  	  	  }
	//
	//	  	  	  output *= 4095;
	//	  	  	  output += 2047;
	//	  		  output = input;

	arm_biquad_cascade_df1_f32(&S1, &input, &output, 1);
	arm_biquad_cascade_df1_f32(&S2, &output, &output, 1);
	arm_biquad_cascade_df1_f32(&S3, &output, &output, 1);
	arm_biquad_cascade_df1_f32(&S4, &output, &output, 1);
	arm_biquad_cascade_df1_f32(&S5, &output, &output, 1);

	// Select sine waveform
	const float32_t *waveform = (volume_level % 2 == 0) ? sine : square;

  // Cap output
//  if (output > 4096){
//    output = 4096;
//  }
//  else if (output < 0) {
//    output = 0;
//  }

	//output += waveform[(uint32_t)(index) % SAMPLES] * (volume_level / 10.0);

//  y[n] = x[n -2] + y[n - 1] + y[n - 2];

	if (push_button_en){
    // Filter output
    reverbRingBuffer[reverbIndex++ % REVERB_BUFFER_LEN] = input;

    reverbDelayLine1 = 1 * reverbRingBuffer[(reverbIndex - REVERB_DELAY_LINE_1 + REVERB_BUFFER_LEN) % REVERB_BUFFER_LEN];
    reverbDelayLine2 = 1 * reverbRingBuffer[(reverbIndex - REVERB_DELAY_LINE_2 + REVERB_BUFFER_LEN) % REVERB_BUFFER_LEN];
    reverbDelayLine3 = 1 * reverbRingBuffer[(reverbIndex - REVERB_DELAY_LINE_3 + REVERB_BUFFER_LEN) % REVERB_BUFFER_LEN];
    reverbDelayLine4 = 1 * reverbRingBuffer[(reverbIndex - REVERB_DELAY_LINE_4 + REVERB_BUFFER_LEN) % REVERB_BUFFER_LEN];

    output = (reverbDelayLine1 + reverbDelayLine2 + reverbDelayLine3 + reverbDelayLine4) / 4;
		//output += 0.25f*biquadStateBand1[0] + 0.125f*biquadStateBand1[1] + 0.25f*biquadStateBand1[2] + 0.125f*biquadStateBand1[3];
	}

	output *= 4096.0;
  output += 2048.0;

	HAL_DAC_SetValue(&hdac, DAC_CHANNEL_2, DAC_ALIGN_12B_R, (uint16_t)output);

//	  	  	  index += incr;
//	  	  	  if (index >= SAMPLES){
//	  	  		  index -= SAMPLES; // wrap around
//	  	  	  }
	  	  }
  }
  /* USER CODE END 3 */
}

void SystemClock_Config(void)
{
  RCC_OscInitTypeDef RCC_OscInitStruct = {0};
  RCC_ClkInitTypeDef RCC_ClkInitStruct = {0};

  /** Configure the main internal regulator output voltage
  */
  __HAL_RCC_PWR_CLK_ENABLE();
  __HAL_PWR_VOLTAGESCALING_CONFIG(PWR_REGULATOR_VOLTAGE_SCALE1);

  /** Initializes the RCC Oscillators according to the specified parameters
  * in the RCC_OscInitTypeDef structure.
  */
  RCC_OscInitStruct.OscillatorType = RCC_OSCILLATORTYPE_HSE;
  RCC_OscInitStruct.HSEState = RCC_HSE_BYPASS;
  RCC_OscInitStruct.PLL.PLLState = RCC_PLL_ON;
  RCC_OscInitStruct.PLL.PLLSource = RCC_PLLSOURCE_HSE;
  RCC_OscInitStruct.PLL.PLLM = 8;
  RCC_OscInitStruct.PLL.PLLN = 336;
  RCC_OscInitStruct.PLL.PLLP = RCC_PLLP_DIV2;
  RCC_OscInitStruct.PLL.PLLQ = 7;
  RCC_OscInitStruct.PLL.PLLR = 2;
  if (HAL_RCC_OscConfig(&RCC_OscInitStruct) != HAL_OK)
  {
    Error_Handler();
  }

  /** Initializes the CPU, AHB and APB buses clocks
  */
  RCC_ClkInitStruct.ClockType = RCC_CLOCKTYPE_HCLK|RCC_CLOCKTYPE_SYSCLK
                              |RCC_CLOCKTYPE_PCLK1|RCC_CLOCKTYPE_PCLK2;
  RCC_ClkInitStruct.SYSCLKSource = RCC_SYSCLKSOURCE_PLLRCLK;
  RCC_ClkInitStruct.AHBCLKDivider = RCC_SYSCLK_DIV1;
  RCC_ClkInitStruct.APB1CLKDivider = RCC_HCLK_DIV4;
  RCC_ClkInitStruct.APB2CLKDivider = RCC_HCLK_DIV2;

  if (HAL_RCC_ClockConfig(&RCC_ClkInitStruct, FLASH_LATENCY_5) != HAL_OK)
  {
    Error_Handler();
  }
}

static void MX_ADC3_Init(void)
{

  ADC_ChannelConfTypeDef sConfig = {0};

  /** Configure the global features of the ADC (Clock, Resolution, Data Alignment and number of conversion)
  */
  hadc3.Instance = ADC3;
  hadc3.Init.ClockPrescaler = ADC_CLOCK_SYNC_PCLK_DIV4;
  hadc3.Init.Resolution = ADC_RESOLUTION_12B;
  hadc3.Init.ScanConvMode = DISABLE;
  hadc3.Init.ContinuousConvMode = DISABLE;
  hadc3.Init.DiscontinuousConvMode = DISABLE;
  hadc3.Init.ExternalTrigConvEdge = ADC_EXTERNALTRIGCONVEDGE_NONE;
  hadc3.Init.ExternalTrigConv = ADC_SOFTWARE_START;
  hadc3.Init.DataAlign = ADC_DATAALIGN_RIGHT;
  hadc3.Init.NbrOfConversion = 1;
  hadc3.Init.DMAContinuousRequests = DISABLE;
  hadc3.Init.EOCSelection = ADC_EOC_SINGLE_CONV;
  if (HAL_ADC_Init(&hadc3) != HAL_OK)
  {
    Error_Handler();
  }

  /** Configure for the selected ADC regular channel its corresponding rank in the sequencer and its sample time.
  */
  sConfig.Channel = ADC_CHANNEL_15;
  sConfig.Rank = 1;
  sConfig.SamplingTime = ADC_SAMPLETIME_3CYCLES;
  if (HAL_ADC_ConfigChannel(&hadc3, &sConfig) != HAL_OK)
  {
    Error_Handler();
  }

}

static void MX_DAC_Init(void)
{

  DAC_ChannelConfTypeDef sConfig = {0};

  /** DAC Initialization
  */
  hdac.Instance = DAC;
  if (HAL_DAC_Init(&hdac) != HAL_OK)
  {
    Error_Handler();
  }

  /** DAC channel OUT2 config
  */
  sConfig.DAC_Trigger = DAC_TRIGGER_T5_TRGO;
  sConfig.DAC_OutputBuffer = DAC_OUTPUTBUFFER_ENABLE;
  if (HAL_DAC_ConfigChannel(&hdac, &sConfig, DAC_CHANNEL_2) != HAL_OK)
  {
    Error_Handler();
  }

}

static void MX_TIM5_Init(void)
{

  TIM_ClockConfigTypeDef sClockSourceConfig = {0};
  TIM_MasterConfigTypeDef sMasterConfig = {0};

  htim5.Instance = TIM5;
  htim5.Init.Prescaler = 0;
  htim5.Init.CounterMode = TIM_COUNTERMODE_UP;
  htim5.Init.Period = 7000-1;
  htim5.Init.ClockDivision = TIM_CLOCKDIVISION_DIV1;
  htim5.Init.AutoReloadPreload = TIM_AUTORELOAD_PRELOAD_ENABLE;
  if (HAL_TIM_Base_Init(&htim5) != HAL_OK)
  {
    Error_Handler();
  }
  sClockSourceConfig.ClockSource = TIM_CLOCKSOURCE_INTERNAL;
  if (HAL_TIM_ConfigClockSource(&htim5, &sClockSourceConfig) != HAL_OK)
  {
    Error_Handler();
  }
  sMasterConfig.MasterOutputTrigger = TIM_TRGO_UPDATE;
  sMasterConfig.MasterSlaveMode = TIM_MASTERSLAVEMODE_DISABLE;
  if (HAL_TIMEx_MasterConfigSynchronization(&htim5, &sMasterConfig) != HAL_OK)
  {
    Error_Handler();
  }

}

static void MX_TIM6_Init(void)
{

  TIM_MasterConfigTypeDef sMasterConfig = {0};

  htim6.Instance = TIM6;
  htim6.Init.Prescaler = 8400 - 1;
  htim6.Init.CounterMode = TIM_COUNTERMODE_UP;
  htim6.Init.Period = 1000 - 1;
  htim6.Init.AutoReloadPreload = TIM_AUTORELOAD_PRELOAD_ENABLE;
  if (HAL_TIM_Base_Init(&htim6) != HAL_OK)
  {
    Error_Handler();
  }
  sMasterConfig.MasterOutputTrigger = TIM_TRGO_RESET;
  sMasterConfig.MasterSlaveMode = TIM_MASTERSLAVEMODE_DISABLE;
  if (HAL_TIMEx_MasterConfigSynchronization(&htim6, &sMasterConfig) != HAL_OK)
  {
    Error_Handler();
  }

}

static void MX_TIM7_Init(void)
{

  TIM_MasterConfigTypeDef sMasterConfig = {0};

  htim7.Instance = TIM7;
  htim7.Init.Prescaler = 0;
  htim7.Init.CounterMode = TIM_COUNTERMODE_UP;
  htim7.Init.Period = 1750-1;
  htim7.Init.AutoReloadPreload = TIM_AUTORELOAD_PRELOAD_ENABLE;
  if (HAL_TIM_Base_Init(&htim7) != HAL_OK)
  {
    Error_Handler();
  }
  sMasterConfig.MasterOutputTrigger = TIM_TRGO_RESET;
  sMasterConfig.MasterSlaveMode = TIM_MASTERSLAVEMODE_DISABLE;
  if (HAL_TIMEx_MasterConfigSynchronization(&htim7, &sMasterConfig) != HAL_OK)
  {
    Error_Handler();
  }

}

static void MX_USART3_UART_Init(void)
{

  huart3.Instance = USART3;
  huart3.Init.BaudRate = 115200;
  huart3.Init.WordLength = UART_WORDLENGTH_8B;
  huart3.Init.StopBits = UART_STOPBITS_1;
  huart3.Init.Parity = UART_PARITY_NONE;
  huart3.Init.Mode = UART_MODE_TX_RX;
  huart3.Init.HwFlowCtl = UART_HWCONTROL_NONE;
  huart3.Init.OverSampling = UART_OVERSAMPLING_16;
  if (HAL_UART_Init(&huart3) != HAL_OK)
  {
    Error_Handler();
  }

}

static void MX_USB_OTG_FS_PCD_Init(void)
{

  hpcd_USB_OTG_FS.Instance = USB_OTG_FS;
  hpcd_USB_OTG_FS.Init.dev_endpoints = 6;
  hpcd_USB_OTG_FS.Init.speed = PCD_SPEED_FULL;
  hpcd_USB_OTG_FS.Init.dma_enable = DISABLE;
  hpcd_USB_OTG_FS.Init.phy_itface = PCD_PHY_EMBEDDED;
  hpcd_USB_OTG_FS.Init.Sof_enable = ENABLE;
  hpcd_USB_OTG_FS.Init.low_power_enable = DISABLE;
  hpcd_USB_OTG_FS.Init.lpm_enable = DISABLE;
  hpcd_USB_OTG_FS.Init.vbus_sensing_enable = ENABLE;
  hpcd_USB_OTG_FS.Init.use_dedicated_ep1 = DISABLE;
  if (HAL_PCD_Init(&hpcd_USB_OTG_FS) != HAL_OK)
  {
    Error_Handler();
  }

}

static void MX_DMA_Init(void)
{

  /* DMA controller clock enable */
  __HAL_RCC_DMA2_CLK_ENABLE();

  /* DMA interrupt init */
  /* DMA2_Stream0_IRQn interrupt configuration */
  HAL_NVIC_SetPriority(DMA2_Stream0_IRQn, 0, 0);
  HAL_NVIC_EnableIRQ(DMA2_Stream0_IRQn);

}

static void MX_GPIO_Init(void)
{
  GPIO_InitTypeDef GPIO_InitStruct = {0};

  /* GPIO Ports Clock Enable */
  __HAL_RCC_GPIOC_CLK_ENABLE();
  __HAL_RCC_GPIOF_CLK_ENABLE();
  __HAL_RCC_GPIOH_CLK_ENABLE();
  __HAL_RCC_GPIOA_CLK_ENABLE();
  __HAL_RCC_GPIOB_CLK_ENABLE();
  __HAL_RCC_GPIOD_CLK_ENABLE();
  __HAL_RCC_GPIOG_CLK_ENABLE();

  /*Configure GPIO pin Output Level */
  HAL_GPIO_WritePin(GPIOB, LD1_Pin|LD3_Pin|LD2_Pin, GPIO_PIN_RESET);

  /*Configure GPIO pin Output Level */
  HAL_GPIO_WritePin(USB_PowerSwitchOn_GPIO_Port, USB_PowerSwitchOn_Pin, GPIO_PIN_RESET);

  /*Configure GPIO pin Output Level */
  HAL_GPIO_WritePin(GPIOC, ROW0_Pin|ROW1_Pin|ROW2_Pin|ROW3_Pin, GPIO_PIN_RESET);

  /*Configure GPIO pin : USER_Btn_Pin */
  GPIO_InitStruct.Pin = USER_Btn_Pin;
  GPIO_InitStruct.Mode = GPIO_MODE_IT_RISING;
  GPIO_InitStruct.Pull = GPIO_NOPULL;
  HAL_GPIO_Init(USER_Btn_GPIO_Port, &GPIO_InitStruct);

  /*Configure GPIO pins : LD1_Pin LD3_Pin LD2_Pin */
  GPIO_InitStruct.Pin = LD1_Pin|LD3_Pin|LD2_Pin;
  GPIO_InitStruct.Mode = GPIO_MODE_OUTPUT_PP;
  GPIO_InitStruct.Pull = GPIO_NOPULL;
  GPIO_InitStruct.Speed = GPIO_SPEED_FREQ_LOW;
  HAL_GPIO_Init(GPIOB, &GPIO_InitStruct);

  /*Configure GPIO pin : USB_PowerSwitchOn_Pin */
  GPIO_InitStruct.Pin = USB_PowerSwitchOn_Pin;
  GPIO_InitStruct.Mode = GPIO_MODE_OUTPUT_PP;
  GPIO_InitStruct.Pull = GPIO_NOPULL;
  GPIO_InitStruct.Speed = GPIO_SPEED_FREQ_LOW;
  HAL_GPIO_Init(USB_PowerSwitchOn_GPIO_Port, &GPIO_InitStruct);

  /*Configure GPIO pin : USB_OverCurrent_Pin */
  GPIO_InitStruct.Pin = USB_OverCurrent_Pin;
  GPIO_InitStruct.Mode = GPIO_MODE_INPUT;
  GPIO_InitStruct.Pull = GPIO_NOPULL;
  HAL_GPIO_Init(USB_OverCurrent_GPIO_Port, &GPIO_InitStruct);

  /*Configure GPIO pins : ROW0_Pin ROW1_Pin ROW2_Pin ROW3_Pin */
  GPIO_InitStruct.Pin = ROW0_Pin|ROW1_Pin|ROW2_Pin|ROW3_Pin;
  GPIO_InitStruct.Mode = GPIO_MODE_OUTPUT_PP;
  GPIO_InitStruct.Pull = GPIO_NOPULL;
  GPIO_InitStruct.Speed = GPIO_SPEED_FREQ_LOW;
  HAL_GPIO_Init(GPIOC, &GPIO_InitStruct);

  /*Configure GPIO pins : COL0_Pin COL1_Pin COL2_Pin COL3_Pin */
  GPIO_InitStruct.Pin = COL0_Pin|COL1_Pin|COL2_Pin|COL3_Pin;
  GPIO_InitStruct.Mode = GPIO_MODE_IT_RISING;
  GPIO_InitStruct.Pull = GPIO_PULLDOWN;
  HAL_GPIO_Init(GPIOD, &GPIO_InitStruct);

  /* EXTI interrupt init*/
  HAL_NVIC_SetPriority(EXTI4_IRQn, 0, 0);
  HAL_NVIC_EnableIRQ(EXTI4_IRQn);

  HAL_NVIC_SetPriority(EXTI9_5_IRQn, 0, 0);
  HAL_NVIC_EnableIRQ(EXTI9_5_IRQn);

  HAL_NVIC_SetPriority(EXTI15_10_IRQn, 0, 0);
  HAL_NVIC_EnableIRQ(EXTI15_10_IRQn);

}

void Error_Handler(void)
{
  __disable_irq();
  while (1)
  {
  }
}
